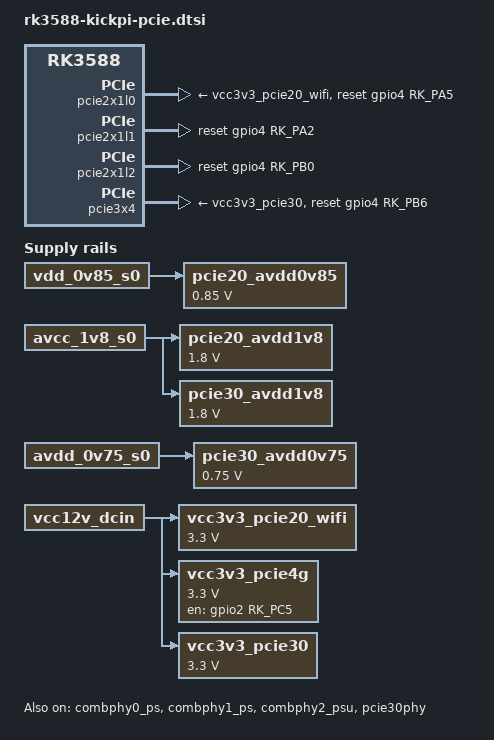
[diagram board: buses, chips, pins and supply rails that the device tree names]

/ {
	pcie20_avdd0v85: pcie20-avdd0v85 {
		compatible = "regulator-fixed";
		regulator-name = "pcie20_avdd0v85";
		regulator-boot-on;
		regulator-always-on;
		regulator-min-microvolt = <850000>;
		regulator-max-microvolt = <850000>;
		vin-supply = <&vdd_0v85_s0>;
	};

	pcie20_avdd1v8: pcie20-avdd1v8 {
		compatible = "regulator-fixed";
		regulator-name = "pcie20_avdd1v8";
		regulator-boot-on;
		regulator-always-on;
		regulator-min-microvolt = <1800000>;
		regulator-max-microvolt = <1800000>;
		vin-supply = <&avcc_1v8_s0>;
	};

	pcie30_avdd0v75: pcie30-avdd0v75 {
		compatible = "regulator-fixed";
		regulator-name = "pcie30_avdd0v75";
		regulator-boot-on;
		regulator-always-on;
		regulator-min-microvolt = <750000>;
		regulator-max-microvolt = <750000>;
		vin-supply = <&avdd_0v75_s0>;
	};

	pcie30_avdd1v8: pcie30-avdd1v8 {
		compatible = "regulator-fixed";
		regulator-name = "pcie30_avdd1v8";
		regulator-boot-on;
		regulator-always-on;
		regulator-min-microvolt = <1800000>;
		regulator-max-microvolt = <1800000>;
		vin-supply = <&avcc_1v8_s0>;
	};

	vcc3v3_pcie20_wifi: vcc3v3-pcie20-wifi {
		compatible = "regulator-fixed";
		regulator-name = "vcc3v3_pcie20_wifi";
		regulator-min-microvolt = <3300000>;
		regulator-max-microvolt = <3300000>;
		enable-active-high;
		/*
		* wifi_reg_on 是在vbat、vddio稳定后才使能，在reset-gpios前拉高，所以
		* 放到PCIe的电源节点中才满足模块时序，引用wifi_poweren_gpio。
		*/
		pinctrl-0 = <&wifi_poweren_gpio>;
		startup-delay-us = <5000>;
		vin-supply = <&vcc12v_dcin>;
	};

	vcc3v3_pcie4g: vcc3v3-pcie4g {
		compatible = "regulator-fixed";
		regulator-name = "vcc3v3_pcie4g";
		regulator-min-microvolt = <3300000>;
		regulator-max-microvolt = <3300000>;
		enable-active-high;
		gpios = <&gpio2 RK_PC5 GPIO_ACTIVE_HIGH>;
		//startup-delay-us = <5000>;
		vin-supply = <&vcc12v_dcin>;
		regulator-boot-on;
		regulator-always-on;
	};

	vcc3v3_pcie30: vcc3v3-pcie30 {
		compatible = "regulator-fixed";
		regulator-name = "vcc3v3_pcie30";
		regulator-min-microvolt = <3300000>;
		regulator-max-microvolt = <3300000>;
		enable-active-high;
		//gpios = <&gpio2 RK_PC5 GPIO_ACTIVE_HIGH>;
		startup-delay-us = <5000>;
		vin-supply = <&vcc12v_dcin>;
	};
};

&combphy0_ps {
	status = "okay";
};

&combphy1_ps {
	status = "okay";
};

&combphy2_psu {
	status = "okay";
};

// pcie wifi
&pcie2x1l0 {
	reset-gpios = <&gpio4 RK_PA5 GPIO_ACTIVE_HIGH>;
	vpcie3v3-supply = <&vcc3v3_pcie20_wifi>;
	rockchip,skip-scan-in-resume;
	rockchip,perst-inactive-ms = <500>;
	status = "okay";
};

&sata0 {
	status = "disabled";
};

&sata1 {
	status = "disabled";
};

&pcie2x1l1 {
	reset-gpios = <&gpio4 RK_PA2 GPIO_ACTIVE_HIGH>;
	status = "okay";
};

&pcie2x1l2 {
	reset-gpios = <&gpio4 RK_PB0 GPIO_ACTIVE_HIGH>;
	status = "okay";
};

&pcie30phy {
	rockchip,pcie30-phymode = <PHY_MODE_PCIE_AGGREGATION>;
	status = "okay";
};

&pcie3x4 {
	reset-gpios = <&gpio4 RK_PB6 GPIO_ACTIVE_HIGH>;
	vpcie3v3-supply = <&vcc3v3_pcie30>;
	pinctrl-names = "default";
	pinctrl-0 = <&pcie20x1_0_clkreqn_m1>;
	status = "okay";
};
